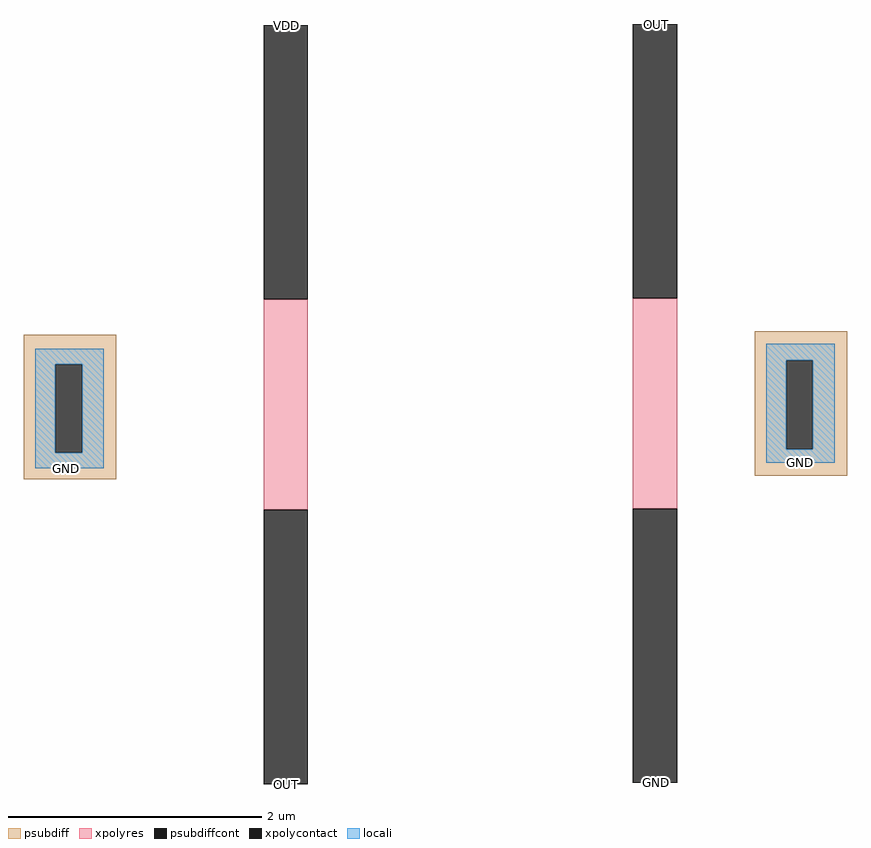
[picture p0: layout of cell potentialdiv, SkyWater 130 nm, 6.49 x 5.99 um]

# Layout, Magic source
magic
tech sky130A
<< psubdiff >>
rect -189 115 -116 138
rect -189 45 -164 115
rect -143 45 -116 115
rect -189 24 -116 45
rect 387 118 460 141
rect 387 48 412 118
rect 433 48 460 118
rect 387 27 460 48
<< psubdiffcont >>
rect -164 45 -143 115
rect 412 48 433 118
<< xpolycontact >>
rect 0 166 35 382
rect 0 -216 35 0
rect 291 167 326 383
rect 291 -215 326 1
<< xpolyres >>
rect 0 0 35 166
rect 291 1 326 167
<< locali >>
rect -180 115 -126 127
rect -180 45 -164 115
rect -143 45 -126 115
rect -180 33 -126 45
rect 396 118 450 131
rect 396 48 412 118
rect 433 48 450 118
rect 396 37 450 48
<< labels >>
rlabel locali 423 37 423 37 5 GND
rlabel locali -155 33 -155 33 5 GND
rlabel xpolycontact 18 382 18 382 1 VDD
rlabel xpolycontact 18 -216 18 -216 5 OUT
rlabel xpolycontact 310 383 310 383 1 OUT
rlabel xpolycontact 310 -215 310 -215 5 GND
<< end >>
